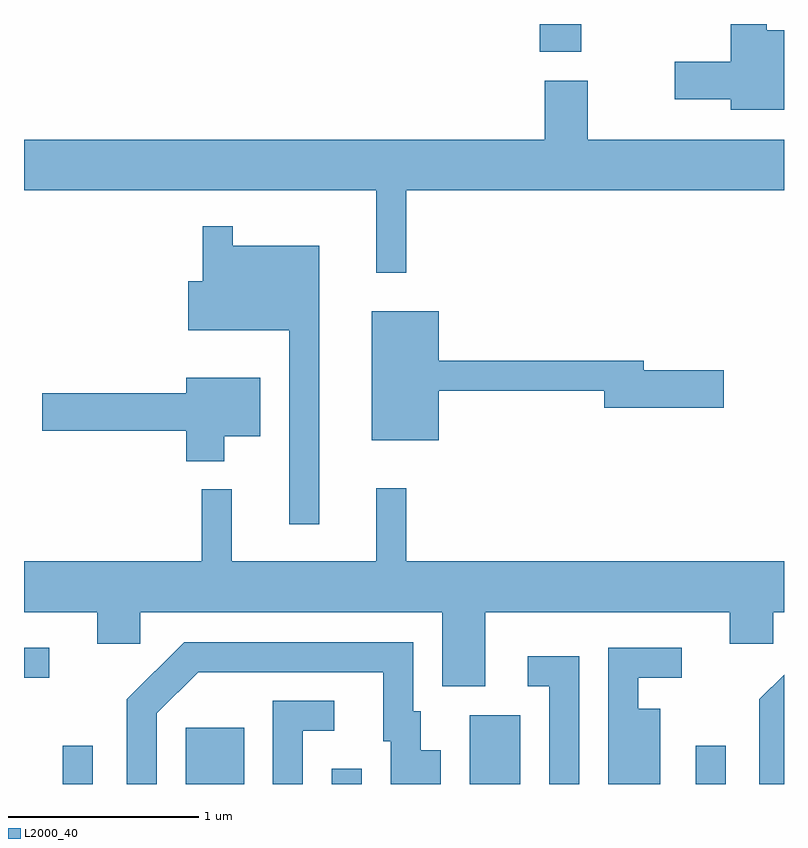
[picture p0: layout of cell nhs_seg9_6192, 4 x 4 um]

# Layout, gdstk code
import gdstk
lib = gdstk.Library(unit=1e-6, precision=1e-09)
def R(c, l, rs):  # rectangles x0, y0, x1, y1
    for r in rs: c.add(gdstk.rectangle(r[:2], r[2:], *l))
def P(c, l, *ps):  # polygons
    for p in ps: c.add(gdstk.Polygon(p, *l))
L2000_40 = (2000, 40)

nhs_seg9_6192 = lib.new_cell('nhs_seg9_6192')
R(nhs_seg9_6192, L2000_40, [(367.816,2026.432,367.974,2026.633), (368.461,2026.432,368.769,2026.729), (369.231,2026.432,369.389,2026.513), (369.956,2026.432,370.224,2026.794), (371.146,2026.432,371.304,2026.633), (367.611,2026.991,367.743,2027.149), (370.326,2030.286,370.544,2030.432)])
P(nhs_seg9_6192, L2000_40, [(371.611,2030.399),(371.519,2030.399),(371.519,2030.432),(371.331,2030.432),(371.331,2030.234),(371.036,2030.234),(371.036,2030.036),(371.331,2030.036),(371.331,2029.981),(371.611,2029.981)],
  [(369.624,2029.556),(371.611,2029.556),(371.611,2029.824),(370.579,2029.824),(370.579,2030.134),(370.351,2030.134),(370.351,2029.824),(367.611,2029.824),(367.611,2029.556),(369.466,2029.556),(369.466,2029.123),(369.624,2029.123)],
  [(369.164,2029.264),(368.709,2029.264),(368.709,2029.368),(368.551,2029.368),(368.551,2029.079),(368.476,2029.079),(368.476,2028.821),(369.006,2028.821),(369.006,2027.798),(369.164,2027.798)],
  [(369.794,2028.501),(370.666,2028.501),(370.666,2028.411),(371.294,2028.411),(371.294,2028.609),(370.874,2028.609),(370.874,2028.659),(369.794,2028.659),(369.794,2028.919),(369.441,2028.919),(369.441,2028.241),(369.794,2028.241)],
  [(368.664,2028.261),(368.854,2028.261),(368.854,2028.569),(368.466,2028.569),(368.466,2028.489),(367.706,2028.489),(367.706,2028.291),(368.466,2028.291),(368.466,2028.131),(368.664,2028.131)],
  [(370.039,2027.336),(371.326,2027.336),(371.326,2027.171),(371.554,2027.171),(371.554,2027.336),(371.611,2027.336),(371.611,2027.604),(369.624,2027.604),(369.624,2027.988),(369.466,2027.988),(369.466,2027.604),(368.704,2027.604),(368.704,2027.983),(368.546,2027.983),(368.546,2027.604),(367.611,2027.604),(367.611,2027.336),(367.996,2027.336),(367.996,2027.171),(368.224,2027.171),(368.224,2027.336),(369.811,2027.336),(369.811,2026.946),(370.039,2026.946)],
  [(368.309,2026.804),(368.527,2027.021),(369.501,2027.021),(369.501,2026.656),(369.541,2026.656),(369.541,2026.432),(369.804,2026.432),(369.804,2026.609),(369.699,2026.609),(369.699,2026.814),(369.659,2026.814),(369.659,2027.179),(368.454,2027.179),(368.151,2026.877),(368.151,2026.432),(368.309,2026.432)],
  [(370.959,2026.829),(370.844,2026.829),(370.844,2026.991),(371.073,2026.991),(371.073,2027.149),(370.686,2027.149),(370.686,2026.432),(370.959,2026.432)],
  [(370.534,2027.104),(370.263,2027.104),(370.263,2026.946),(370.376,2026.946),(370.376,2026.432),(370.534,2026.432)],
  [(371.611,2027.007),(371.481,2026.877),(371.481,2026.432),(371.611,2026.432)],
  [(369.079,2026.711),(369.243,2026.711),(369.243,2026.869),(368.921,2026.869),(368.921,2026.432),(369.079,2026.432)])

lib.write_gds('nhs_seg9_6192.gds')
